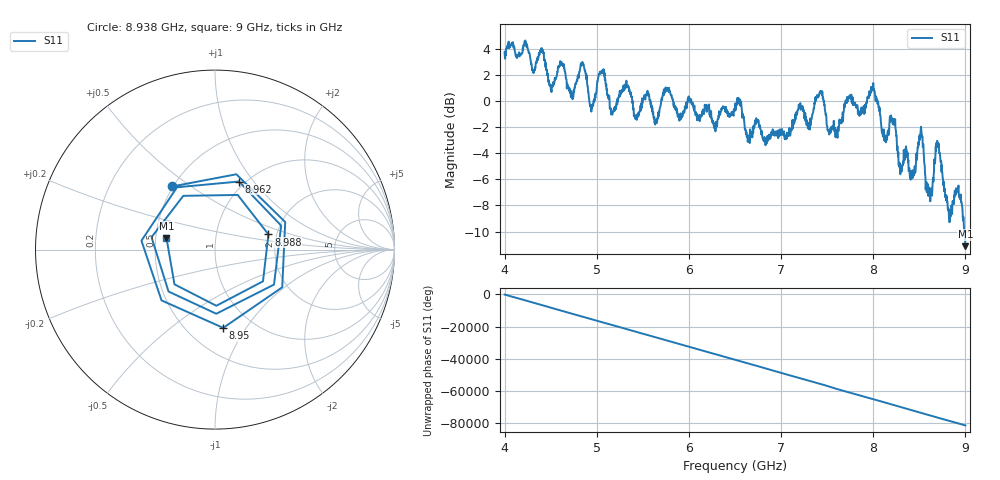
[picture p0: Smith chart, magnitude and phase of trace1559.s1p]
! Created with skrf 1.8.0 (http://scikit-rf.org).
# Hz S RI R 50.0
!freq ReS11 ImS11
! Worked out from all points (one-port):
!   1601 points, 4 GHz to 9 GHz, reference 50 ohm
!   lowest |S11| = -11.1 dB at 9 GHz (marker M1), VSWR 1.77, Z = 28.5 + j4.02 ohm
!   |S11| at or under -10 dB: 8.986638 GHz to 8.989855 GHz (3.217 MHz wide, 0.0358 % of centre); 8.99269 GHz to end of sweep
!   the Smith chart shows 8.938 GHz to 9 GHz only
!   S11 on the Smith chart (normalised r, x): 8.938 GHz: 0.49, +0.42; 8.95 GHz: 0.73, -0.79; 8.962 GHz: 0.94, +0.85; 8.988 GHz: 1.81, +0.34; 9 GHz: 0.57, +0.08
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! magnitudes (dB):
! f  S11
! 4 GHz  3.7
! 4.4 GHz  3.8
! 4.506 GHz  0.9
! 4.625 GHz  2.8
! 4.731 GHz  0.6
! 4.85 GHz  2.8
! 4.944 GHz  -0.5
! 5.053 GHz  2.3
! 5.166 GHz  -1.0
! 5.25 GHz  0.8
! 5.875 GHz  -1.0
! 6.5 GHz  -0.6
! 6.65 GHz  -2.7
! 7.125 GHz  -2.1
! 7.425 GHz  0.7
! 7.603 GHz  -2.6
! 7.75 GHz  0.5
! 7.994 GHz  1.1
! 8.375 GHz  -4.0
! 8.519 GHz  -2.0
! 8.619 GHz  -7.7
! 8.7 GHz  -3.2
! 8.819 GHz  -8.3
! 8.938 GHz  -7.4
! 8.95 GHz  -7.2
! 8.962 GHz  -7.9
! 8.988 GHz  -10.2
! 9 GHz  -11.1
